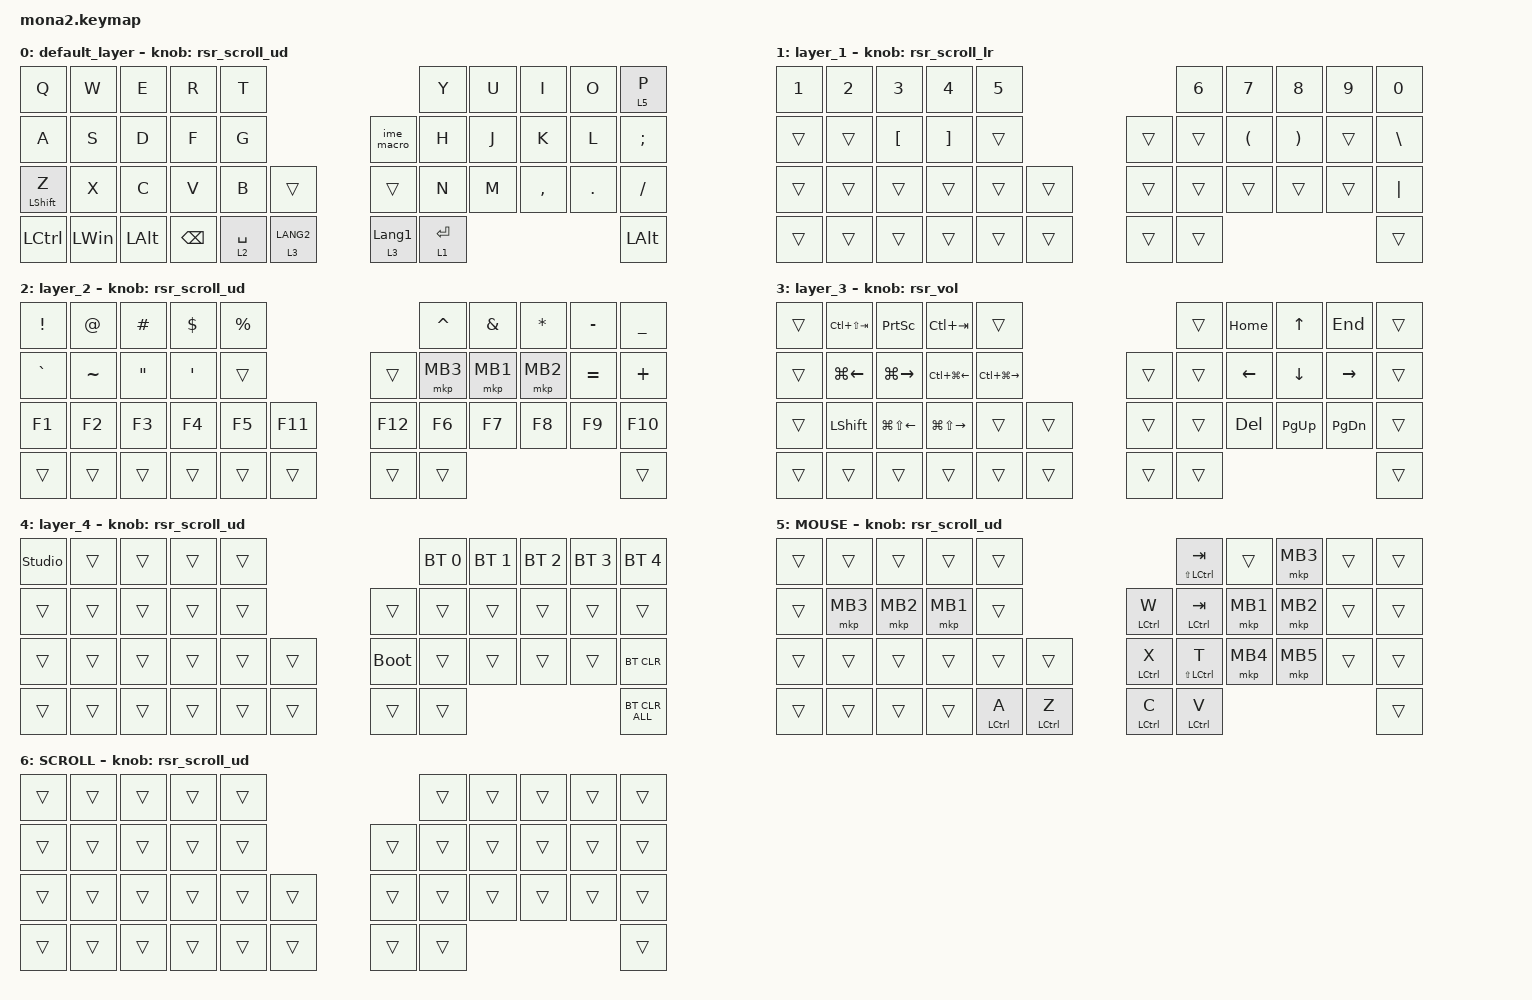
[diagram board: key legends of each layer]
#include <input/processors.dtsi>
#include <input/processors/runtime-input-processor.dtsi>
#include <behaviors/runtime-sensor-rotate.dtsi>
#include <behaviors/battery_history_request.dtsi>
#include <dt-bindings/zmk/input_transform.h>
#include <zephyr/dt-bindings/input/input-event-codes.h>
#include <behaviors.dtsi>
#include <dt-bindings/zmk/bt.h>
#include <dt-bindings/zmk/keys.h>
#include <dt-bindings/zmk/pointing.h>

#define ZMK_POINTING_DEFAULT_SCRL_VAL 100
#define MOUSE 5
#define SCROLL 6

&mt {
    flavor = "balanced";
    quick-tap-ms = <0>;
};

&lt {
    quick-tap-ms = <300>;
    flavor = "balanced";
};

/ {
    combos {
        compatible = "zmk,combos";

        layer4_ESC {
            bindings = <&lt 4 ESC>;
            key-positions = <39 38>;
        };

        tab {
            bindings = <&kp TAB>;
            key-positions = <11 12>;
        };
    };

    macros {
        to_layer_0: to_layer_0 {
            compatible = "zmk,behavior-macro-one-param";
            #binding-cells = <1>;
            bindings = <&to 0 &macro_param_1to1 &kp MACRO_PLACEHOLDER>;
            label = "TO_LAYER_0";
        };

        ime_macro: ime_macro {
            compatible = "zmk,behavior-macro";
            #binding-cells = <0>;
            bindings = <&kp F13>;
            label = "IME_MACRO";
        };
    };

    behaviors {
        lt_to_layer_0: lt_to_layer_0 {
            compatible = "zmk,behavior-hold-tap";
            label = "LAYER_TAP_TO_0";
            bindings = <&mo>, <&to_layer_0>;

            #binding-cells = <2>;
            tapping-term-ms = <200>;
        };

        // DYA Studio: Runtime sensor rotate behaviors for encoder
        rsr_vol: rsr_vol {
            compatible = "zmk,behavior-runtime-sensor-rotate";
            #sensor-binding-cells = <0>;
            tap-ms = <20>;
            cw-binding = <&kp C_VOL_DN>;
            ccw-binding = <&kp C_VOL_UP>;
        };

        rsr_scroll_ud: rsr_scroll_ud {
            compatible = "zmk,behavior-runtime-sensor-rotate";
            #sensor-binding-cells = <0>;
            tap-ms = <20>;
            cw-binding = <&msc SCRL_DOWN>;
            ccw-binding = <&msc SCRL_UP>;
        };

        rsr_scroll_lr: rsr_scroll_lr {
            compatible = "zmk,behavior-runtime-sensor-rotate";
            #sensor-binding-cells = <0>;
            tap-ms = <20>;
            cw-binding = <&msc SCRL_LEFT>;
            ccw-binding = <&msc SCRL_RIGHT>;
        };
    };

    keymap {
        compatible = "zmk,keymap";

        default_layer {
            bindings = <
&kp Q             &kp W         &kp E     &kp R          &kp T                                                               &kp Y        &kp U  &kp I      &kp O    &lt 5 P
&kp A             &kp S         &kp D     &kp F          &kp G                                  &ime_macro                   &kp H        &kp J  &kp K      &kp L    &kp SEMICOLON
&mt LEFT_SHIFT Z  &kp X         &kp C     &kp V          &kp B        &trans                    &trans                       &kp N        &kp M  &kp COMMA  &kp DOT  &kp SLASH
&kp LCTRL         &kp LEFT_WIN  &kp LALT  &kp BACKSPACE  &lt 2 SPACE  &lt_to_layer_0 3 LANG2    &lt_to_layer_0 3 LANGUAGE_1  &lt 1 ENTER                             &kp LEFT_ALT
            >;

            sensor-bindings = <&rsr_scroll_ud>;
        };

        layer_1 {
            bindings = <
&kp NUMBER_1  &kp NUMBER_2  &kp NUMBER_3      &kp NUMBER_4       &kp NUMBER_5                    &kp NUMBER_6  &kp NUMBER_7          &kp NUMBER_8           &kp NUMBER_9  &kp NUMBER_0
&trans        &trans        &kp LEFT_BRACKET  &kp RIGHT_BRACKET  &trans                  &trans  &trans        &kp LEFT_PARENTHESIS  &kp RIGHT_PARENTHESIS  &trans        &kp BACKSLASH
&trans        &trans        &trans            &trans             &trans        &trans    &trans  &trans        &trans                &trans                 &trans        &kp PIPE
&trans        &trans        &trans            &trans             &trans        &trans    &trans  &trans                                                                   &trans
            >;

            sensor-bindings = <&rsr_scroll_lr>;
        };

        layer_2 {
            bindings = <
&kp EXCLAMATION  &kp AT_SIGN  &kp POUND          &kp DOLLAR  &kp PERCENT                      &kp CARET  &kp AMPERSAND  &kp ASTERISK  &kp MINUS  &kp UNDERSCORE
&kp GRAVE        &kp TILDE    &kp DOUBLE_QUOTES  &kp SQT     &trans                  &trans   &mkp MB3   &mkp MB1       &mkp MB2      &kp EQUAL  &kp PLUS
&kp F1           &kp F2       &kp F3             &kp F4      &kp F5       &kp F11    &kp F12  &kp F6     &kp F7         &kp F8        &kp F9     &kp F10
&trans           &trans       &trans             &trans      &trans       &trans     &trans   &trans                                             &trans
            >;

            sensor-bindings = <&rsr_scroll_ud>;
        };

        layer_3 {
            bindings = <
&trans  &kp LC(LS(TAB))     &kp PRINTSCREEN         &kp LC(TAB)              &trans                                     &trans  &kp HOME        &kp UP_ARROW    &kp END          &trans
&trans  &kp LG(LEFT_ARROW)  &kp LG(RIGHT_ARROW)     &kp LC(LG(LEFT_ARROW))   &kp LC(LG(RIGHT_ARROW))            &trans  &trans  &kp LEFT_ARROW  &kp DOWN_ARROW  &kp RIGHT_ARROW  &trans
&trans  &kp LEFT_SHIFT      &kp LG(LS(LEFT_ARROW))  &kp LG(LS(RIGHT_ARROW))  &trans                   &trans    &trans  &trans  &kp DELETE      &kp PAGE_UP     &kp PAGE_DOWN    &trans
&trans  &trans              &trans                  &trans                   &trans                   &trans    &trans  &trans                                                   &trans
            >;

            sensor-bindings = <&rsr_vol>;
        };

        layer_4 {
            bindings = <
&studio_unlock  &trans  &trans  &trans  &trans                         &bt BT_SEL 0  &bt BT_SEL 1  &bt BT_SEL 2  &bt BT_SEL 3  &bt BT_SEL 4
&trans          &trans  &trans  &trans  &trans            &trans       &trans        &trans        &trans        &trans        &trans
&trans          &trans  &trans  &trans  &trans  &trans    &bootloader  &trans        &trans        &trans        &trans        &bt BT_CLR
&trans          &trans  &trans  &trans  &trans  &trans    &trans       &trans                                                  &bt BT_CLR_ALL
            >;

            sensor-bindings = <&rsr_scroll_ud>;
        };

        MOUSE {
            bindings = <
&trans  &trans    &trans    &trans    &trans                                                 &mt LS(LEFT_CONTROL) TAB  &trans    &mkp MB3  &trans  &trans
&trans  &mkp MB3  &mkp MB2  &mkp MB1  &trans                             &mt LEFT_CONTROL W  &mt LEFT_CONTROL TAB      &mkp MB1  &mkp MB2  &trans  &trans
&trans  &trans    &trans    &trans    &trans              &trans         &mt LCTRL X         &mt LS(LEFT_CONTROL) T    &mkp MB4  &mkp MB5  &trans  &trans
&trans  &trans    &trans    &trans    &mt LEFT_CONTROL A  &mt LCTRL Z    &mt LCTRL C         &mt LCTRL V                                           &trans
            >;

            sensor-bindings = <&rsr_scroll_ud>;
        };

        SCROLL {
            bindings = <
&trans  &trans  &trans  &trans  &trans                    &trans  &trans  &trans  &trans  &trans
&trans  &trans  &trans  &trans  &trans            &trans  &trans  &trans  &trans  &trans  &trans
&trans  &trans  &trans  &trans  &trans  &trans    &trans  &trans  &trans  &trans  &trans  &trans
&trans  &trans  &trans  &trans  &trans  &trans    &trans  &trans                          &trans
            >;

            sensor-bindings = <&rsr_scroll_ud>;
        };
    };
};
